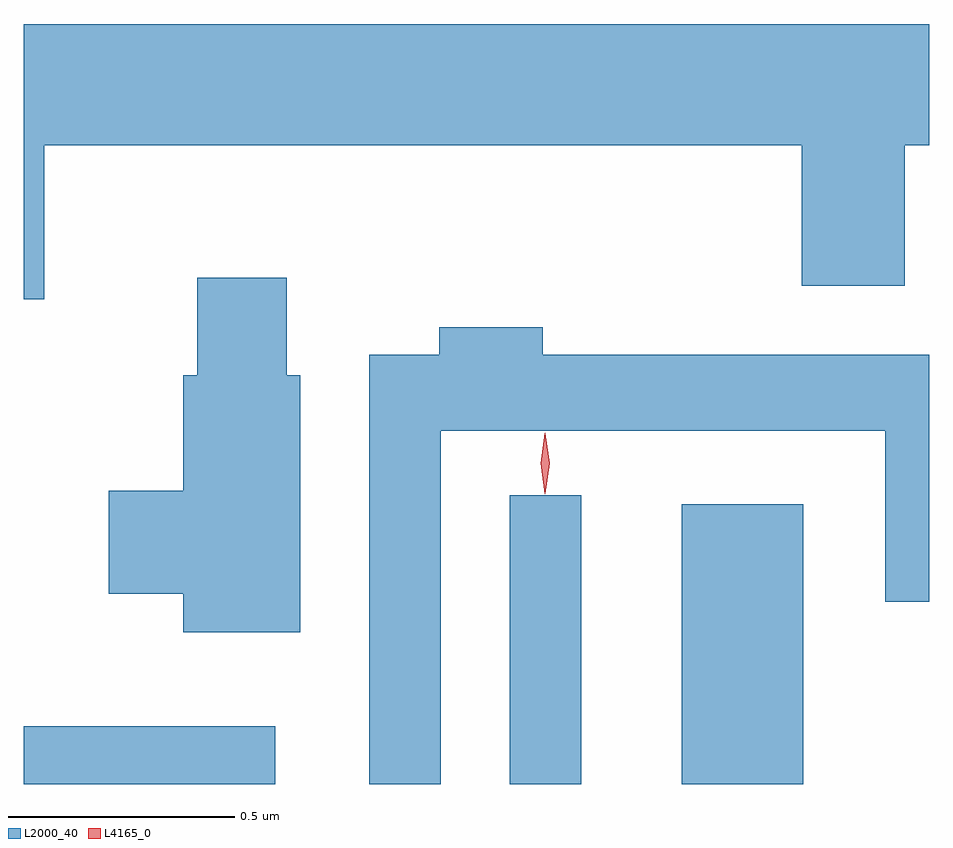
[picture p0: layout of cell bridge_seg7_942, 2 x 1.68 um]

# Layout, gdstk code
import gdstk
lib = gdstk.Library(unit=1e-6, precision=1e-09)
def R(c, l, rs):  # rectangles x0, y0, x1, y1
    for r in rs: c.add(gdstk.rectangle(r[:2], r[2:], *l))
def P(c, l, *ps):  # polygons
    for p in ps: c.add(gdstk.Polygon(p, *l))
L2000_40 = (2000, 40)
L4165_0 = (4165, 0)

bridge_seg7_942 = lib.new_cell('bridge_seg7_942')
R(bridge_seg7_942, L2000_40, [(425.443,1719.566,425.999,1719.694), (426.516,1719.566,426.674,1720.203), (426.896,1719.566,427.164,1720.184)])
P(bridge_seg7_942, L2000_40, [(425.489,1720.976),(427.161,1720.976),(427.161,1720.666),(427.389,1720.666),(427.389,1720.976),(427.443,1720.976),(427.443,1721.244),(425.443,1721.244),(425.443,1720.636),(425.489,1720.636)],
  [(426.054,1720.469),(426.024,1720.469),(426.024,1720.684),(425.826,1720.684),(425.826,1720.469),(425.796,1720.469),(425.796,1720.214),(425.631,1720.214),(425.631,1719.986),(425.796,1719.986),(425.796,1719.901),(426.054,1719.901)],
  [(426.364,1720.346),(427.346,1720.346),(427.346,1719.968),(427.443,1719.968),(427.443,1720.514),(426.589,1720.514),(426.589,1720.574),(426.361,1720.574),(426.361,1720.514),(426.206,1720.514),(426.206,1719.566),(426.364,1719.566)])
P(bridge_seg7_942, L4165_0, [(426.594,1720.207),(426.585,1720.274),(426.594,1720.34),(426.595,1720.341),(426.595,1720.34),(426.605,1720.274),(426.595,1720.207),(426.595,1720.207)])

lib.write_gds('bridge_seg7_942.gds')
